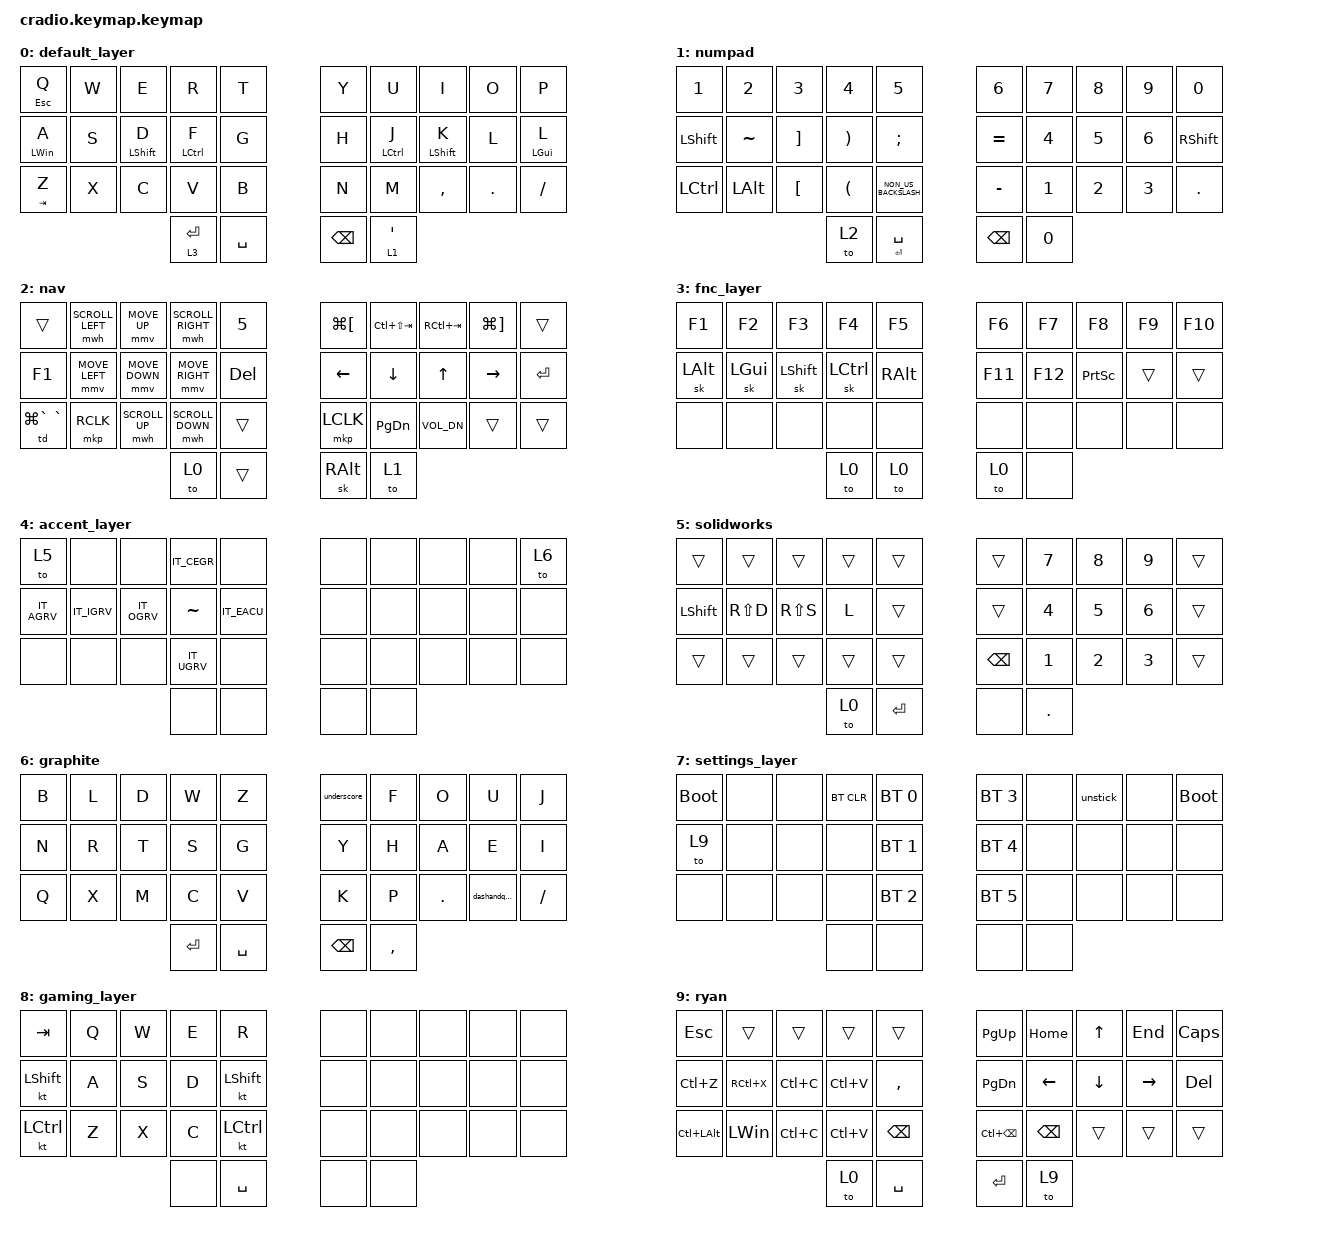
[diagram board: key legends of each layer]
/*
 * Copyright (c) 2020 The ZMK Contributors
 *
 * SPDX-License-Identifier: MIT
 */

#include "keymap_italian.h"
#include <behaviors.dtsi>
#include <dt-bindings/zmk/bt.h>
#include <dt-bindings/zmk/keys.h>
#include <dt-bindings/zmk/keys.h>
#include <dt-bindings/zmk/mouse.h>

// Layer definitions

#define BASE 0
#define SYM 1
#define EXT 2
#define FNC 3
#define SYM2 4
#define ACCENT 5
#define SETTINGS 6

// -----------------
&mmv {
   time-to-max-speed-ms = <680>;
   acceleration-exponent=<2>;
};

&mt {
    //  flavor = "tap-preferred";
    // tapping_term_ms = <200>;

    bindings = <&kp>, <&kp>;

    tapping-term-ms = <250>;
    flavor = "tap-preferred";
};

&sk { ignore-modifiers; };

/ {
    macros {
        // sometimes my device thinks a modifier is being held down
        // pressing all modifiers fixes it.

        unstick: unstick {
            label = "ZM_unstick";
            compatible = "zmk,behavior-macro";
            #binding-cells = <0>;
            bindings = <&kp LSHIFT &kp RSHIFT &kp LCTRL &kp RCTRL &kp LALT &kp RALT &kp LGUI &kp RGUI>;
        };
    };

    combos {
        compatible = "zmk,combos";

        // both right thumb keys

        combo_accent {
            timeout-ms = <300>;
            key-positions = <32 33>;
            bindings = <&mo 4>;
        };

        // internal-left & external-right thumb keys

        combo_sym2 {
            timeout-ms = <200>;
            key-positions = <31 33>;
            bindings = <&to 1>;
        };

        // both left thumb keys

        combo_settings {
            timeout-ms = <300>;
            key-positions = <30 31>;
            bindings = <&mo 8>;
        };

        home_panic {
            bindings = <&to 0>;
            key-positions = <31 32>;
            layers = <1 9 0 4 8 2 5 6>;
        };

        gamer_goo {
            bindings = <&to 2>;
            key-positions = <30 33>;
        };
    };

    behaviors {
        new_behavior: new_behavior {
            compatible = "zmk,behavior-hold-tap";
            label = "NEW_BEHAVIOR";
            bindings = <&kp>, <&kp>;

            #binding-cells = <2>;
            tapping-term-ms = <350>;
            quick-tap-ms = <(-1)>;
            require-prior-idle-ms = <(-1)>;
            flavor = "tap-preferred";
        };

        underscore: underscore {
            compatible = "zmk,behavior-mod-morph";
            label = "UNDERSCORE";
            bindings = <&kp SQT>, <&kp UNDERSCORE>;

            #binding-cells = <0>;
            mods = <(MOD_LSFT)>;
            keep-mods = <(MOD_LSFT)>;
        };

        dashandqoutes: dashandqoutes {
            compatible = "zmk,behavior-mod-morph";
            label = "DASHANDQOUTES";
            bindings = <&kp MINUS>, <&kp DOUBLE_QUOTES>;

            #binding-cells = <0>;
            mods = <(MOD_LSFT)>;
            keep-mods = <(MOD_LSFT)>;
        };
    };

    keymap {
        compatible = "zmk,keymap";

        // Base alpha layer

        default_layer {
            bindings = <
&mt ESCAPE Q              &kp W  &kp E         &kp R               &kp T        &kp Y          &kp U               &kp I         &kp O    &kp P
&new_behavior LEFT_WIN A  &kp S  &mt LSHIFT D  &mt LEFT_CONTROL F  &kp G        &kp H          &mt LEFT_CONTROL J  &mt LSHIFT K  &kp L    &new_behavior LEFT_GUI L
&mt TAB Z                 &kp X  &kp C         &kp V               &kp B        &kp N          &kp M               &kp COMMA     &kp DOT  &kp SLASH
                                               &lt 3 ENTER         &kp SPACE    &kp BACKSPACE  &lt 1 APOS
            >;
        };

        numpad {
            bindings = <
&kp NUMBER_1      &kp NUMBER_2  &kp NUMBER_3       &kp NUMBER_4           &kp N5                  &kp NUMBER_6   &kp N7  &kp N8  &kp N9  &kp N0
&kp LSHIFT        &kp TILDE     &kp RIGHT_BRACKET  &kp RIGHT_PARENTHESIS  &kp SEMICOLON           &kp EQUAL      &kp N4  &kp N5  &kp N6  &kp RSHIFT
&kp LEFT_CONTROL  &kp LALT      &kp LEFT_BRACKET   &kp LEFT_PARENTHESIS   &kp NON_US_BACKSLASH    &kp MINUS      &kp N1  &kp N2  &kp N3  &kp PERIOD
                                                   &to 2                  &mt ENTER SPACE         &kp BACKSPACE  &kp N0
            >;
        };

        nav {
            bindings = <
&trans  &mwh SCROLL_LEFT    &mmv MOVE_UP    &mwh SCROLL_RIGHT    &kp NUM_5 			&kp LG(LBKT)   &kp LC(LS(TAB))   &kp RC(TAB) &kp LG(RBKT) &trans
		&kp F1 &mmv MOVE_LEFT &mmv MOVE_DOWN &mmv MOVE_RIGHT &kp DEL  						&kp LEFT &kp DOWN  &kp UP &kp RIGHT &kp ENTER 
		&td LG(GRAVE) GRAVE &mkp RCLK  &mwh SCROLL_UP &mwh SCROLL_DOWN &trans   				&mkp LCLK &kp PG_DN  &kp K_VOL_DN  &trans &trans   
					 &to 0 &trans  					&sk RALT &to 1            
 >;
        };

        fnc_layer {
            bindings = <
&kp F1    &kp F2    &kp F3      &kp F4     &kp F5      &kp F6   &kp F7   &kp F8           &kp F9  &kp F10
&sk LALT  &sk LGUI  &sk LSHIFT  &sk LCTRL  &kp RALT    &kp F11  &kp F12  &kp PRINTSCREEN  &trans  &trans
&none     &none     &none       &none      &none       &none    &none    &none            &none   &none
                                &to 0      &to 0       &to 0    &none
            >;
        };

        accent_layer {
            bindings = <
&to 5        &none        &none        &kp IT_CEGR  &none          &none  &none  &none  &none  &to 6
&kp IT_AGRV  &kp IT_IGRV  &kp IT_OGRV  &kp TILDE    &kp IT_EACU    &none  &none  &none  &none  &none
&none        &none        &none        &kp IT_UGRV  &none          &none  &none  &none  &none  &none
                                       &none        &none          &none  &none
            >;
        };

        solidworks {
            bindings = <
&trans          &trans     &trans     &trans  &trans       &trans         &kp N7   &kp N8  &kp N9  &trans
&kp LEFT_SHIFT  &kp RS(D)  &kp RS(S)  &kp L   &trans       &trans         &kp N4   &kp N5  &kp N6  &trans
&trans          &trans     &trans     &trans  &trans       &kp BACKSPACE  &kp N1   &kp N2  &kp N3  &trans
                                      &to 0   &kp ENTER    &none          &kp DOT
            >;
        };

        graphite {
            bindings = <
&kp B  &kp L  &kp D  &kp W      &kp Z        &underscore  &kp F      &kp O    &kp U           &kp J
&kp N  &kp R  &kp T  &kp S      &kp G        &kp Y        &kp H      &kp A    &kp E           &kp I
&kp Q  &kp X  &kp M  &kp C      &kp V        &kp K        &kp P      &kp DOT  &dashandqoutes  &kp FSLH
                     &kp ENTER  &kp SPACE    &kp BSPC     &kp COMMA
            >;
        };

        settings_layer {
            bindings = <
&bootloader  &none  &none  &bt BT_CLR  &bt BT_SEL 0    &bt BT_SEL 3  &none  &unstick  &none  &bootloader
&to 9        &none  &none  &none       &bt BT_SEL 1    &bt BT_SEL 4  &none  &none     &none  &none
&none        &none  &none  &none       &bt BT_SEL 2    &bt BT_SEL 5  &none  &none     &none  &none
                           &none       &none           &none         &none
            >;
        };

        gaming_layer {
            bindings = <
&kp TAB           &kp Q  &kp W  &kp E  &kp R               &none  &none  &none  &none  &none
&kt LEFT_SHIFT    &kp A  &kp S  &kp D  &kt LEFT_SHIFT      &none  &none  &none  &none  &none
&kt LEFT_CONTROL  &kp Z  &kp X  &kp C  &kt LEFT_CONTROL    &none  &none  &none  &none  &none
                                &none  &kp SPACE           &none  &none
            >;
        };

        ryan {
            bindings = <
&kp ESC           &trans        &trans     &trans     &trans           &kp PG_UP     &kp HOME  &kp UP    &kp END    &kp CAPS
&kp LC(Z)         &kp RC(X)     &kp LC(C)  &kp LC(V)  &kp COMMA        &kp PG_DN     &kp LEFT  &kp DOWN  &kp RIGHT  &kp DEL
&kp LC(LEFT_ALT)  &kp LEFT_WIN  &kp LC(C)  &kp LC(V)  &kp BACKSPACE    &kp LC(BSPC)  &kp BSPC  &trans    &trans     &trans
                                           &to 0      &kp SPACE        &kp ENTER     &to 9
            >;
        };
    };
};
